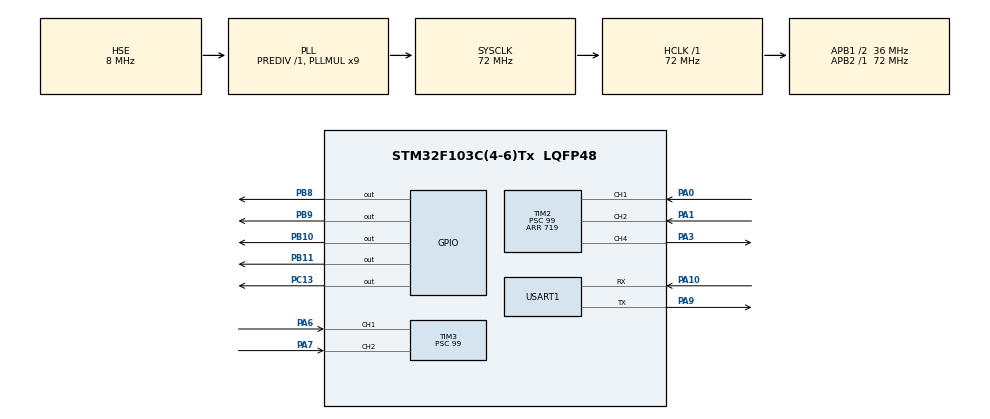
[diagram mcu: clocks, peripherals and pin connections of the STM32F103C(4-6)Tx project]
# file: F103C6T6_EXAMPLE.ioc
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FREERTOS.Tasks01=defaultTask,24,128,StartDefaultTask,Default,NULL,Dynamic,NULL,NULL
Mcu.Family=STM32F1
Mcu.Name=STM32F103C(4-6)Tx
Mcu.Package=LQFP48
NVIC.PriorityGroup=NVIC_PRIORITYGROUP_4
NVIC.TIM1_UP_IRQn=true\:15\:0\:false\:false\:true\:false\:true\:true\:true
NVIC.TIM2_IRQn=true\:5\:0\:false\:false\:true\:true\:true\:true\:true
NVIC.TIM3_IRQn=true\:5\:0\:false\:false\:true\:true\:true\:true\:true
NVIC.TimeBase=TIM1_UP_IRQn
NVIC.TimeBaseIP=TIM1
PA0-WKUP.Signal=S_TIM2_CH1_ETR
PA1.Signal=S_TIM2_CH2
PA10.Mode=Asynchronous
PA10.Signal=USART1_RX
PA13.Mode=Serial_Wire
PA13.Signal=SYS_JTMS-SWDIO
PA14.Mode=Serial_Wire
PA14.Signal=SYS_JTCK-SWCLK
PA3.Signal=S_TIM2_CH4
PA6.Signal=S_TIM3_CH1
PA7.Signal=S_TIM3_CH2
PA9.Mode=Asynchronous
PA9.Signal=USART1_TX
PB10.GPIO_ModeDefaultOutputPP=GPIO_MODE_OUTPUT_OD
PB10.GPIO_PuPd=GPIO_PULLUP
PB10.Signal=GPIO_Output
PB11.GPIO_ModeDefaultOutputPP=GPIO_MODE_OUTPUT_OD
PB11.GPIO_PuPd=GPIO_PULLUP
PB11.Signal=GPIO_Output
PB8.GPIO_ModeDefaultOutputPP=GPIO_MODE_OUTPUT_OD
PB8.GPIO_PuPd=GPIO_PULLUP
PB8.Signal=GPIO_Output
PB9.GPIO_ModeDefaultOutputPP=GPIO_MODE_OUTPUT_OD
PB9.GPIO_PuPd=GPIO_PULLUP
PB9.Signal=GPIO_Output
PC13-TAMPER-RTC.GPIO_ModeDefaultOutputPP=GPIO_MODE_OUTPUT_PP
PC13-TAMPER-RTC.GPIO_PuPd=GPIO_NOPULL
PC13-TAMPER-RTC.Signal=GPIO_Output
PD0-OSC_IN.Mode=HSE-External-Oscillator
PD0-OSC_IN.Signal=RCC_OSC_IN
PD1-OSC_OUT.Mode=HSE-External-Oscillator
PD1-OSC_OUT.Signal=RCC_OSC_OUT
ProjectManager.HeapSize=0x200
ProjectManager.StackSize=0x400
ProjectManager.TargetToolchain=MDK-ARM V5.32
RCC.AHBFreq_Value=72000000
RCC.APB1CLKDivider=RCC_HCLK_DIV2
RCC.APB1Freq_Value=36000000
RCC.APB1TimFreq_Value=72000000
RCC.APB2Freq_Value=72000000
RCC.APB2TimFreq_Value=72000000
RCC.HCLKFreq_Value=72000000
RCC.PLLMUL=RCC_PLL_MUL9
RCC.PLLSourceVirtual=RCC_PLLSOURCE_HSE
RCC.SYSCLKFreq_VALUE=72000000
RCC.SYSCLKSource=RCC_SYSCLKSOURCE_PLLCLK
RCC.USBFreq_Value=72000000
SH.S_TIM2_CH1_ETR.0=TIM2_CH1,Encoder_Interface
SH.S_TIM2_CH2.0=TIM2_CH2,Encoder_Interface
SH.S_TIM2_CH4.0=TIM2_CH4,PWM Generation4 CH4
SH.S_TIM3_CH1.0=TIM3_CH1,Encoder_Interface
SH.S_TIM3_CH2.0=TIM3_CH2,Encoder_Interface
TIM2.Channel-PWM\ Generation4\ CH4=TIM_CHANNEL_4
TIM2.Period=719
TIM2.Prescaler=99
TIM3.Period=719
TIM3.Prescaler=99
USART1.VirtualMode=VM_ASYNC
VP_FREERTOS_VS_CMSIS_V2.Mode=CMSIS_V2
VP_SYS_VS_tim1.Mode=TIM1
board=custom

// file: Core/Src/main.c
/* USER CODE BEGIN Header */
/**
  ******************************************************************************
  * @file           : main.c
  * @brief          : Main program body
  ******************************************************************************
  * @attention
  *
  * Copyright (c) 2022 STMicroelectronics.
  * All rights reserved.
  *
  * This software is licensed under terms that can be found in the LICENSE file
  * in the root directory of this software component.
  * If no LICENSE file comes with this software, it is provided AS-IS.
  *
  ******************************************************************************
  */
/* USER CODE END Header */
#include "main.h"
#include "cmsis_os.h"
#include "tim.h"
#include "usart.h"
#include "gpio.h"

/* USER CODE BEGIN Includes */
#include "stdio.h"
#include "mpu6050.h"
/* USER CODE END Includes */

void SystemClock_Config(void);
void MX_FREERTOS_Init(void);

int main(void)
{

  /* MCU Configuration--------------------------------------------------------*/

  /* Reset of all peripherals, Initializes the Flash interface and the Systick. */
  HAL_Init();

  /* Configure the system clock */
  SystemClock_Config();

  /* Initialize all configured peripherals */
  MX_GPIO_Init();
  MX_TIM2_Init();
  MX_TIM3_Init();
  MX_USART1_UART_Init();
  /* USER CODE BEGIN 2 */
	HAL_TIM_Base_Start_IT(&htim2);
	MPU_Init();			//MPU6050初始化

  /* USER CODE END 2 */

  /* Init scheduler */
  osKernelInitialize();  /* Call init function for freertos objects (in freertos.c) */
  MX_FREERTOS_Init();

  /* Start scheduler */
  osKernelStart();

  /* We should never get here as control is now taken by the scheduler */
  /* Infinite loop */
  /* USER CODE BEGIN WHILE */
  while (1)
  {
				HAL_Delay(50);
    /* USER CODE END WHILE */
  }
}

void SystemClock_Config(void)
{
  RCC_OscInitTypeDef RCC_OscInitStruct = {0};
  RCC_ClkInitTypeDef RCC_ClkInitStruct = {0};

  /** Initializes the RCC Oscillators according to the specified parameters
  * in the RCC_OscInitTypeDef structure.
  */
  RCC_OscInitStruct.OscillatorType = RCC_OSCILLATORTYPE_HSE;
  RCC_OscInitStruct.HSEState = RCC_HSE_ON;
  RCC_OscInitStruct.HSEPredivValue = RCC_HSE_PREDIV_DIV1;
  RCC_OscInitStruct.HSIState = RCC_HSI_ON;
  RCC_OscInitStruct.PLL.PLLState = RCC_PLL_ON;
  RCC_OscInitStruct.PLL.PLLSource = RCC_PLLSOURCE_HSE;
  RCC_OscInitStruct.PLL.PLLMUL = RCC_PLL_MUL9;
  if (HAL_RCC_OscConfig(&RCC_OscInitStruct) != HAL_OK)
  {
    Error_Handler();
  }

  /** Initializes the CPU, AHB and APB buses clocks
  */
  RCC_ClkInitStruct.ClockType = RCC_CLOCKTYPE_HCLK|RCC_CLOCKTYPE_SYSCLK
                              |RCC_CLOCKTYPE_PCLK1|RCC_CLOCKTYPE_PCLK2;
  RCC_ClkInitStruct.SYSCLKSource = RCC_SYSCLKSOURCE_PLLCLK;
  RCC_ClkInitStruct.AHBCLKDivider = RCC_SYSCLK_DIV1;
  RCC_ClkInitStruct.APB1CLKDivider = RCC_HCLK_DIV2;
  RCC_ClkInitStruct.APB2CLKDivider = RCC_HCLK_DIV1;

  if (HAL_RCC_ClockConfig(&RCC_ClkInitStruct, FLASH_LATENCY_2) != HAL_OK)
  {
    Error_Handler();
  }
}

void HAL_TIM_PeriodElapsedCallback(TIM_HandleTypeDef *htim)
{
  if (htim->Instance == TIM1) {
    HAL_IncTick();
  }
}

void Error_Handler(void)
{
  __disable_irq();
  while (1)
  {
  }
}

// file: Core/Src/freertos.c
/* USER CODE BEGIN Header */
/**
  ******************************************************************************
  * File Name          : freertos.c
  * Description        : Code for freertos applications
  ******************************************************************************
  * @attention
  *
  * Copyright (c) 2022 STMicroelectronics.
  * All rights reserved.
  *
  * This software is licensed under terms that can be found in the LICENSE file
  * in the root directory of this software component.
  * If no LICENSE file comes with this software, it is provided AS-IS.
  *
  ******************************************************************************
  */
/* USER CODE END Header */

#include "FreeRTOS.h"
#include "task.h"
#include "main.h"
#include "cmsis_os.h"

/* USER CODE BEGIN Includes */
#include "mpu6050.h"

/* USER CODE END Includes */

/* Definitions for defaultTask */
osThreadId_t defaultTaskHandle;
const osThreadAttr_t defaultTask_attributes = {
  .name = "defaultTask",
  .stack_size = 128 * 4,
  .priority = (osPriority_t) osPriorityNormal,
};

/* USER CODE BEGIN FunctionPrototypes */
osThreadId_t MPU6050TaskHandle;
const osThreadAttr_t MPU6050Task_attributes = {
  .name = "MPU6050Task",
  .stack_size = 128 * 4,
  .priority = (osPriority_t) osPriorityNormal1,
};
void StartMPU6050Task(void *argument);
/* USER CODE END FunctionPrototypes */

void StartDefaultTask(void *argument);

void MX_FREERTOS_Init(void); /* (MISRA C 2004 rule 8.1) */

void MX_FREERTOS_Init(void) {

  /* Create the thread(s) */
  /* creation of defaultTask */
  defaultTaskHandle = osThreadNew(StartDefaultTask, NULL, &defaultTask_attributes);

  /* USER CODE BEGIN RTOS_THREADS */
  /* add threads, ... */
	MPU6050TaskHandle = osThreadNew(StartMPU6050Task, NULL, & MPU6050Task_attributes);
  /* USER CODE END RTOS_THREADS */

}

void StartDefaultTask(void *argument)
{
  /* USER CODE BEGIN StartDefaultTask */
  /* Infinite loop */
  for(;;)
  {
    osDelay(1000);
		HAL_GPIO_TogglePin(GPIOC, GPIO_PIN_13);
  }
  /* USER CODE END StartDefaultTask */
}

/* USER CODE BEGIN Application */
void StartMPU6050Task(void *argument)
{
	for(;;)
	{
		osDelay(50);
		Angle_Cal();

	}

}
/* USER CODE END Application */
